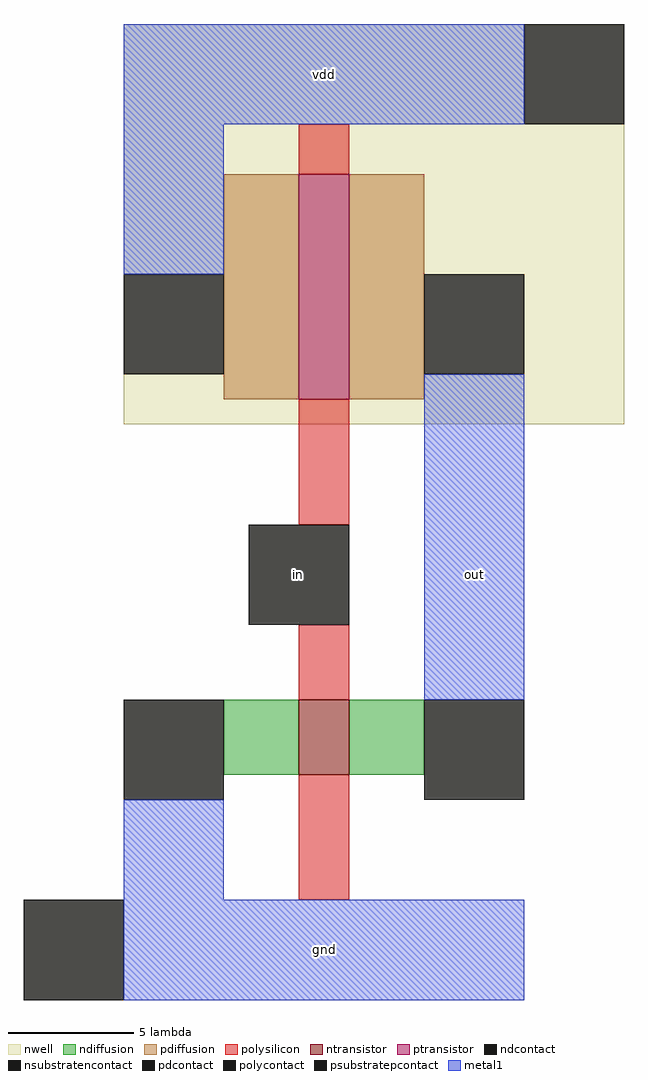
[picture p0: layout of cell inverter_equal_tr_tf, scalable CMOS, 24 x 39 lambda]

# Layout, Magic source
magic
tech scmos
<< nwell >>
rect -5 14 15 30
<< polysilicon >>
rect 2 24 4 26
rect 2 10 4 15
rect 2 3 4 6
rect 2 -5 4 0
<< ndiffusion >>
rect -1 0 2 3
rect 4 0 7 3
<< pdiffusion >>
rect -1 15 2 24
rect 4 15 7 24
<< metal1 >>
rect -5 26 11 30
rect -5 20 -1 26
rect 7 3 11 16
rect -5 -5 -1 -1
rect -5 -9 11 -5
<< ntransistor >>
rect 2 0 4 3
<< ptransistor >>
rect 2 15 4 24
<< polycontact >>
rect 0 6 4 10
<< ndcontact >>
rect -5 -1 -1 3
rect 7 -1 11 3
<< pdcontact >>
rect -5 16 -1 20
rect 7 16 11 20
<< psubstratepcontact >>
rect -9 -9 -5 -5
<< nsubstratencontact >>
rect 11 26 15 30
<< labels >>
rlabel polycontact 2 8 2 8 1 in
rlabel metal1 9 8 9 8 1 out
rlabel metal1 3 28 3 28 5 vdd
rlabel metal1 3 -7 3 -7 1 gnd
<< end >>
